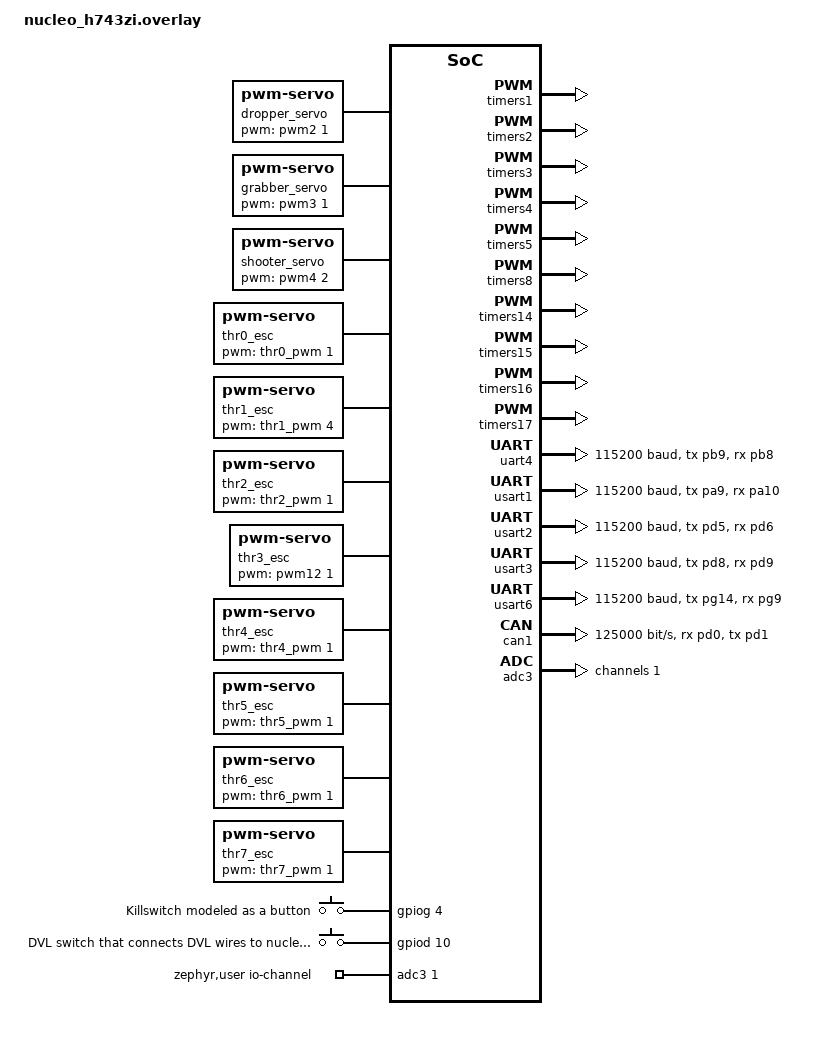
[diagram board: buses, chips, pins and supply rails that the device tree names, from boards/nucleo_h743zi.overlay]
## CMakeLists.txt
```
cmake_minimum_required(VERSION 3.20.5)
find_package(Zephyr REQUIRED HINTS $ENV{ZEPHYR_BASE})
project(maritime)

target_include_directories(app PRIVATE include)

FILE(GLOB app_sources src/*.c)

target_sources(app PRIVATE ${app_sources})
```

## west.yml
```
manifest:
  remotes:
    - name: zephyrproject-rtos
      url-base: https://github.com/zephyrproject-rtos
  projects:
    - name: zephyr
      remote: zephyrproject-rtos
      revision: v4.5.0
      # Only the modules an RP2040 build uses, rather than every vendor's HAL
      import:
        name-allowlist:
          - cmsis_6
          - hal_rpi_pico
  self:
    path: maritime
```

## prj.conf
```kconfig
CONFIG_BOOT_BANNER=n

CONFIG_UART_INTERRUPT_DRIVEN=y

CONFIG_GPIO=y
CONFIG_PWM=y
CONFIG_ADC=y

# Resets the board (stopping the thruster PWM) if the main loop stalls
CONFIG_WATCHDOG=y
# A fault resets the board at once, instead of halting with the thrusters on their last
# pulse until the watchdog fires
CONFIG_RESET_ON_FATAL_ERROR=y

# Stack overflow faults and resets the board instead of corrupting memory
CONFIG_ARM_MPU=y
CONFIG_HW_STACK_PROTECTION=y

# Framing for the protocol to thalassic
CONFIG_COBS=y

CONFIG_SERIAL=y
CONFIG_CONSOLE=y
CONFIG_UART_CONSOLE=y

CONFIG_USB_DEVICE_STACK_NEXT=y
CONFIG_CDC_ACM_SERIAL_INITIALIZE_AT_BOOT=y
CONFIG_CDC_ACM_SERIAL_PID=0x0004
CONFIG_CDC_ACM_SERIAL_PRODUCT_STRING="Maritime"

# Console shares the USB link with the protocol to thalassic. debug.conf turns logging on for debugging.
CONFIG_LOG=n

# Enable FLTO
CONFIG_LTO=y
CONFIG_ISR_TABLES_LOCAL_DECLARATION=y
```

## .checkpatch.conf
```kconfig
# Taken from https://github.com/zephyrproject-rtos/zephyr/blob/main/.checkpatch.conf
# --typedefsfile is left out: its path is relative to zephyr, so format.sh passes it

--emacs
--summary-file
--show-types
--max-line-length=100
--min-conf-desc-length=1

--ignore PRINTK_WITHOUT_KERN_LEVEL
--ignore SPLIT_STRING
--ignore VOLATILE
--ignore CONFIG_EXPERIMENTAL
--ignore PREFER_KERNEL_TYPES
--ignore PREFER_SECTION
--ignore AVOID_EXTERNS
--ignore NETWORKING_BLOCK_COMMENT_STYLE
--ignore DATE_TIME
--ignore MINMAX
--ignore CONST_STRUCT
--ignore FILE_PATH_CHANGES
--ignore SPDX_LICENSE_TAG
--ignore C99_COMMENT_TOLERANCE
--ignore REPEATED_WORD
--ignore UNDOCUMENTED_DT_STRING
--ignore DT_SPLIT_BINDING_PATCH
--ignore DT_SCHEMA_BINDING_PATCH
--ignore TRAILING_SEMICOLON
--ignore COMPLEX_MACRO
--ignore MULTISTATEMENT_MACRO_USE_DO_WHILE
--ignore ENOSYS
--ignore IS_ENABLED_CONFIG
--ignore EXPORT_SYMBOL
--ignore COMPARISON_TO_NULL
```

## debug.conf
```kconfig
# Logs go to the same USB console as the protocol. Only use for debugging.
CONFIG_LOG=y
# needed so there is not a huge delay with printk
CONFIG_LOG_PRINTK=n
CONFIG_LOG_DEFAULT_LEVEL=3
CONFIG_LOG_MAX_LEVEL=4
# USB is the output of logs, so turning on logs of USB would be recursive
CONFIG_USBD_CDC_ACM_LOG_LEVEL_OFF=y

# Checks the __ASSERT()s, which other builds compile out
CONFIG_ASSERT=y

# Disable FLTO
CONFIG_LTO=n
CONFIG_ISR_TABLES_LOCAL_DECLARATION=n
```

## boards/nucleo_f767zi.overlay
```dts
/ {
    /* Grabber and shooter servos are ser-110x model */
    dropper_servo: dropper_servo {
        compatible = "pwm-servo";
        pwms = <&pwm1_custom 1 PWM_MSEC(20) PWM_POLARITY_NORMAL>;
        min-pulse = <PWM_USEC(850)>;
        max-pulse = <PWM_USEC(2220)>; /* This sus value works */
    };

    /* The grabber servo is the ser-120x model */
    grabber_servo: grabber_servo {
        compatible = "pwm-servo";
        pwms = <&pwm2 2 PWM_MSEC(20) PWM_POLARITY_NORMAL>;
        min-pulse = <PWM_USEC(800)>;
        max-pulse = <PWM_USEC(2100)>;
    };

    shooter_servo: shooter_servo {
        compatible = "pwm-servo";
        pwms = <&pwm3 3 PWM_MSEC(20) PWM_POLARITY_NORMAL>;
        min-pulse = <PWM_USEC(850)>;
        max-pulse = <PWM_USEC(2220)>;
    };
};

/* Define timers for the pwm; pwm1 is already defined on pin pe13 by default
 * in zephyr's Nucleo f767zi dts file on their github.
 */
&timers2{
    pwm1_custom: pwm {
        status = "okay";
        pinctrl-0 = <&tim2_ch1_pa0>;
        pinctrl-names = "default";
    };

    pwm2: pwm {
        status = "okay";
        pinctrl-0 = <&tim2_ch2_pa1>;
        pinctrl-names = "default";
    };

    pwm3: pwm {
        status = "okay";
        pinctrl-0 = <&tim2_ch3_pa2>;
        pinctrl-names = "default";
    };
};

/* 
 * Communicate with the killswitch as a gpio "button" on pin PH1 
 * Communicate with the DVL switch (that connects DVL's wires to 
 *   nucleos uart pins) on pin PA14
 */
/ {
    buttons {
        compatible = "gpio-keys";
        killswitch_button: killswitch_button {
            /* Pin PH1 -> gpioh 1 */
            gpios = <&gpioh 1 GPIO_ACTIVE_HIGH>;
            label = "Killswitch modeled as a button";
        };

        dvl_switch: dvl_switch {
            /* Pin PA14 -> gpioa 14 */
            gpios = <&gpioa 14 GPIO_ACTIVE_HIGH>;
            label = "DVL switch that connects DVL wires to nucleos pins.";
        };
    };
};

&uart5 {
    pinctrl-0 = <&uart5_tx_pb9 &uart5_rx_pb8>;
    pinctrl-names = "default";
    current-speed = <115200>;
    status = "okay";
};

&usart1 {
    pinctrl-0 = <&usart1_tx_pa9 &usart1_rx_pa10>;
    pinctrl-names = "default";
    current-speed = <115200>;
    status = "okay";
};

&usart2 {
    pinctrl-0 = <&usart2_tx_pd5 &usart2_rx_pd6>;
    pinctrl-names = "default";
    current-speed = <115200>;
    status = "okay";
};

&uart4 {
    pinctrl-0 = <&uart4_tx_pc10 &uart4_rx_pc11>;
    pinctrl-names = "default";
    current-speed = <115200>;
    status = "okay";
};

&i2c1 {
    status = "disabled";
};

&i2c2 {
    pinctrl-0 = <&i2c2_scl_pb10 &i2c2_sda_pb11>;
    pinctrl-names = "default";
    status = "okay";
    clock-frequency = <I2C_BITRATE_STANDARD>;
    ms5837@76 {
        compatible = "meas,ms5837";
        reg = <0x76>;
    };
};


/*
can1 already enabled, alias zephyr,canbus = &can1;

&can1 {
	pinctrl-0 = <&can1_rx_pd0 &can1_tx_pd1>;
	pinctrl-names = "default";
	bus-speed = <125000>;
	status = "okay";
};
*/
```

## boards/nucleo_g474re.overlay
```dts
/ {
	aliases {
		uart3 = &usart3;

		max485-thruster = &max485_0;
	};
};

/* usart1 connected to MAX485 chip, used for thruster communication over RS-485 */
&usart1 {
	pinctrl-0 = <&usart1_tx_pc4 &usart1_rx_pc5>;
	current-speed = <115200>;
	status = "okay";

	dmas = <&dmamux1 2 25 0x440 0>,
		   <&dmamux1 1 24 0x480 0>;
	dma-names = "tx", "rx";

	max485_0: max485_0 {
		status = "okay";
		label = "MAX485_0";
		compatible = "maxim,max485";
		de-gpios = <&gpioc 6 GPIO_ACTIVE_HIGH>;
		re-gpios = <&gpioc 5 GPIO_ACTIVE_LOW>;
	};
};

&dma1 {
	status = "okay";
};

&dmamux1 {
	status = "okay";
};
```

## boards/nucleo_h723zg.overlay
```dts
/* Ask chatgpt if u don't understand something */

/ {
    /* Grabber and shooter servos are ser-110x model */
    dropper_servo: dropper_servo {
        compatible = "pwm-servo";
        pwms = <&pwm2 1 PWM_MSEC(20) PWM_POLARITY_NORMAL>;
        min-pulse = <PWM_USEC(850)>;
        max-pulse = <PWM_USEC(2100)>; /* This sus value works */
    };

    /* The grabber servo is the ser-120x model */
    grabber_servo: grabber_servo {
        compatible = "pwm-servo";
        pwms = <&pwm3 1 PWM_MSEC(20) PWM_POLARITY_NORMAL>;
        min-pulse = <PWM_USEC(800)>;
        max-pulse = <PWM_USEC(2100)>;
    };

    shooter_servo: shooter_servo {
        compatible = "pwm-servo";
        pwms = <&pwm4 2 PWM_MSEC(20) PWM_POLARITY_NORMAL>;
        min-pulse = <PWM_USEC(850)>;
        max-pulse = <PWM_USEC(2250)>;
    };
};

/* Define timers for the pwm; pwm12 is already defined on pin pb14 by default
 * in zephyr's Nucleo f767zi dts file on their github.
 */
&timers2{
    st,prescaler = <10000>;
    status = "okay";

    pwm2: pwm {
        status = "okay";
        pinctrl-0 = <&tim2_ch1_pa5>;
        pinctrl-names = "default";
    };
};

&timers3{
    st,prescaler = <10000>;
    status = "okay";

    pwm3: pwm {
        status = "okay";
        pinctrl-0 = <&tim3_ch1_pa6>;
        pinctrl-names = "default";
    };
};

&timers4{
    st,prescaler = <10000>;
    status = "okay";

    pwm4: pwm {
        status = "okay";
        pinctrl-0 = <&tim4_ch2_pb7>;
        pinctrl-names = "default";
    };
};

/* 
 * Communicate with the killswitch as a gpio "button" on pin PH1 
 * Communicate with the DVL switch (that connects DVL's wires to 
 *   nucleos uart pins) on pin PA14
 */
/ {
    buttons {
        compatible = "gpio-keys";
        killswitch_button: killswitch_button {
            /* Pin PG4 -> gpiog 4 */
            gpios = <&gpiog 4 GPIO_ACTIVE_HIGH>;
            label = "Killswitch modeled as a button";
        };

        dvl_switch: dvl_switch {
            /* Pin PD10 -> gpiod 10 */
            gpios = <&gpiod 10 GPIO_ACTIVE_HIGH>;
            label = "DVL switch that connects DVL wires to nucleos pins.";
        };
    };
};

&uart4 {
    pinctrl-0 = <&uart4_tx_pb9 &uart4_rx_pb8>;
    pinctrl-names = "default";
    current-speed = <115200>;
    status = "okay";
};

&usart1 {
    pinctrl-0 = <&usart1_tx_pa9 &usart1_rx_pa10>;
    pinctrl-names = "default";
    current-speed = <115200>;
    status = "okay";
};

&usart2 {
    pinctrl-0 = <&usart2_tx_pd5 &usart2_rx_pd6>;
    pinctrl-names = "default";
    current-speed = <115200>;
    status = "okay";
};

&usart3 {
    pinctrl-0 = <&usart3_tx_pd8 &usart3_rx_pd9>;
    pinctrl-names = "default";
    current-speed = <115200>;
    status = "okay";
};

&usart6 {
    pinctrl-0 = <&usart6_tx_pg14 &usart6_rx_pg9>;
    pinctrl-names = "default";
    current-speed = <115200>;
    status = "okay";
};

&uart7 {
    pinctrl-0 = <&uart7_tx_pf7 &uart7_rx_pf6>;
    pinctrl-names = "default";
    current-speed = <115200>;
    status = "okay";
};


/*
&i2c4 {
    pinctrl-0 = <&i2c4_scl_pd12 &i2c4_sda_pd13>;
    pinctrl-names = "default";
    status = "okay";
    clock-frequency = <I2C_BITRATE_STANDARD>;
    ms5837@76 {
        compatible = "meas,ms5837";
        reg = <0x76>;
    };
};
*/

/* can is used for sending messages to thrusters' escs */
&can1 {
    pinctrl-0 = <&fdcan1_rx_pd0 &fdcan1_tx_pd1>;
    pinctrl-names = "default";
    bus-speed = <125000>;
    bus-speed-data = <1000000>;
    status = "okay";
};

/*
 * Read the pressure sensor, via an analog to digital converter 
 * Use pin PC3, which has ADC3_INP3
 * https://github.com/micropython/micropython/blob/master/ports/stm32/boards/stm32h743_af.csv
 */
/ {
    zephyr,user {
        /* adjust channel number according to pinmux in board.dts */
        io-channels = <&adc3 3>;
    };
};

&adc3 {
    #address-cells = <1>;
    #size-cells = <0>;

    channel@3 {
        reg = <3>;
        zephyr,gain = "ADC_GAIN_1";
        zephyr,reference = "ADC_REF_INTERNAL";
        zephyr,acquisition-time = <ADC_ACQ_TIME_DEFAULT>;
        zephyr,resolution = <16>;
    };
};
```

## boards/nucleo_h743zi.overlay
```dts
/* Ask chatgpt if u don't understand something */

/ {
    /* Grabber and shooter servos are ser-110x model */
    dropper_servo: dropper_servo {
        compatible = "pwm-servo";
        /* Timer 2 channel 1 (pwm2/1) = pwm2 1 */
        pwms = <&pwm2 1 PWM_MSEC(20) PWM_POLARITY_NORMAL>;
        min-pulse = <PWM_USEC(850)>;
        max-pulse = <PWM_USEC(2100)>; /* This sus value works */
    };

    /* The grabber servo is the ser-120x model */
    grabber_servo: grabber_servo {
        compatible = "pwm-servo";
        pwms = <&pwm3 1 PWM_MSEC(20) PWM_POLARITY_NORMAL>;
        min-pulse = <PWM_USEC(800)>;
        max-pulse = <PWM_USEC(2100)>;
    };

    shooter_servo: shooter_servo {
        compatible = "pwm-servo";
        pwms = <&pwm4 2 PWM_MSEC(20) PWM_POLARITY_NORMAL>;
        min-pulse = <PWM_USEC(850)>;
        max-pulse = <PWM_USEC(2250)>;
    };

    /* Use pwm to control the thruster electronic speed controllers */
    thr0_esc: thr0_esc {
        compatible = "pwm-servo";
        pwms = <&thr0_pwm 1 PWM_MSEC(20) PWM_POLARITY_NORMAL>;
        min-pulse = <PWM_USEC(1100)>;
        max-pulse = <PWM_USEC(1900)>;
    };

    thr1_esc: thr1_esc {
        compatible = "pwm-servo";
        pwms = <&thr1_pwm 4 PWM_MSEC(20) PWM_POLARITY_NORMAL>;
        min-pulse = <PWM_USEC(1100)>;
        max-pulse = <PWM_USEC(1900)>;
    };

    thr2_esc: thr2_esc {
        compatible = "pwm-servo";
        pwms = <&thr2_pwm 1 PWM_MSEC(20) PWM_POLARITY_NORMAL>;
        min-pulse = <PWM_USEC(1100)>;
        max-pulse = <PWM_USEC(1900)>;
    };

    thr3_esc: thr3_esc {
        compatible = "pwm-servo";
        /* pwm12 is defined by default on pin pb14 */
        pwms = <&pwm12 1 PWM_MSEC(20) PWM_POLARITY_NORMAL>;
        min-pulse = <PWM_USEC(1100)>;
        max-pulse = <PWM_USEC(1900)>;
    };

    thr4_esc: thr4_esc {
        compatible = "pwm-servo";
        pwms = <&thr4_pwm 1 PWM_MSEC(20) PWM_POLARITY_NORMAL>;
        min-pulse = <PWM_USEC(1100)>;
        max-pulse = <PWM_USEC(1900)>;
    };

    thr5_esc: thr5_esc {
        compatible = "pwm-servo";
        pwms = <&thr5_pwm 1 PWM_MSEC(20) PWM_POLARITY_NORMAL>;
        min-pulse = <PWM_USEC(1100)>;
        max-pulse = <PWM_USEC(1900)>;
    };

    thr6_esc: thr6_esc {
        compatible = "pwm-servo";
        pwms = <&thr6_pwm 1 PWM_MSEC(20) PWM_POLARITY_NORMAL>;
        min-pulse = <PWM_USEC(1100)>;
        max-pulse = <PWM_USEC(1900)>;
    };

    thr7_esc: thr7_esc {
        compatible = "pwm-servo";
        pwms = <&thr7_pwm 1 PWM_MSEC(20) PWM_POLARITY_NORMAL>;
        min-pulse = <PWM_USEC(1100)>;
        max-pulse = <PWM_USEC(1900)>;
    };
};

/* Define timers for the pwm; pwm12 is already defined on pin pb14 by default
 * in zephyr's Nucleo f767zi dts file on their github.
 */
&timers1{
    st,prescaler = <10000>;
    status = "okay";

    thr0_pwm: pwm {
        status = "okay";
        pinctrl-0 = <&tim1_ch1_pa8>;
        pinctrl-names = "default";
    };
};

&timers2{
    st,prescaler = <10000>;
    status = "okay";

    pwm2: pwm {
        status = "okay";
        pinctrl-0 = <&tim2_ch1_pa5>;
        pinctrl-names = "default";
    };
};

&timers3{
    st,prescaler = <10000>;
    status = "okay";

    pwm3: pwm {
        status = "okay";
        pinctrl-0 = <&tim3_ch1_pa6>;
        pinctrl-names = "default";
    };
};

&timers4{
    st,prescaler = <10000>;
    status = "okay";

    pwm4: pwm {
        status = "okay";
        pinctrl-0 = <&tim4_ch2_pb7>;
        pinctrl-names = "default";
    };
};

&timers5{
    st,prescaler = <10000>;
    status = "okay";

    thr1_pwm: pwm {
        status = "okay";
        pinctrl-0 = <&tim5_ch4_pa3>;
        pinctrl-names = "default";
    };
};

&timers8{
    st,prescaler = <10000>;
    status = "okay";

    thr2_pwm: pwm {
        status = "okay";
        pinctrl-0 = <&tim8_ch1_pc6>;
        pinctrl-names = "default";
    };
};

&timers14{
    st,prescaler = <10000>;
    status = "okay";

    thr4_pwm: pwm {
        status = "okay";
        pinctrl-0 = <&tim14_ch1_pa7>;
        pinctrl-names = "default";
    };
};

&timers15{
    st,prescaler = <10000>;
    status = "okay";

    thr5_pwm: pwm {
        status = "okay";
        pinctrl-0 = <&tim15_ch1_pa2>;
        pinctrl-names = "default";
    };
};

&timers16{
    st,prescaler = <10000>;
    status = "okay";

    thr6_pwm: pwm {
        status = "okay";
        pinctrl-0 = <&tim16_ch1_pf6>;
        pinctrl-names = "default";
    };
};

&timers17{
    st,prescaler = <10000>;
    status = "okay";

    thr7_pwm: pwm {
        status = "okay";
        pinctrl-0 = <&tim17_ch1_pf7>;
        pinctrl-names = "default";
    };
};

/* 
 * Communicate with the killswitch as a gpio "button" on pin PH1 
 * Communicate with the DVL switch (that connects DVL's wires to 
 *   nucleos uart pins) on pin PA14
 */
/ {
    buttons {
        compatible = "gpio-keys";
        killswitch_button: killswitch_button {
            /* Pin PG4 -> gpiog 4 */
            gpios = <&gpiog 4 GPIO_ACTIVE_HIGH>;
            label = "Killswitch modeled as a button";
        };

        dvl_switch: dvl_switch {
            /* Pin PD10 -> gpiod 10 */
            gpios = <&gpiod 10 GPIO_ACTIVE_HIGH>;
            label = "DVL switch that connects DVL wires to nucleos pins.";
        };
    };
};

&uart4 {
    pinctrl-0 = <&uart4_tx_pb9 &uart4_rx_pb8>;
    pinctrl-names = "default";
    current-speed = <115200>;
    status = "okay";
};

&usart1 {
    pinctrl-0 = <&usart1_tx_pa9 &usart1_rx_pa10>;
    pinctrl-names = "default";
    current-speed = <115200>;
    status = "okay";
};

&usart2 {
    pinctrl-0 = <&usart2_tx_pd5 &usart2_rx_pd6>;
    pinctrl-names = "default";
    current-speed = <115200>;
    status = "okay";
};

&usart3 {
    pinctrl-0 = <&usart3_tx_pd8 &usart3_rx_pd9>;
    pinctrl-names = "default";
    current-speed = <115200>;
    status = "okay";
};

&usart6 {
    pinctrl-0 = <&usart6_tx_pg14 &usart6_rx_pg9>;
    pinctrl-names = "default";
    current-speed = <115200>;
    status = "okay";
};

/*
&uart7 {
    pinctrl-0 = <&uart7_tx_pf7 &uart7_rx_pf6>;
    pinctrl-names = "default";
    current-speed = <115200>;
    status = "okay";
};
*/


/*
&i2c4 {
    pinctrl-0 = <&i2c4_scl_pd12 &i2c4_sda_pd13>;
    pinctrl-names = "default";
    status = "okay";
    clock-frequency = <I2C_BITRATE_STANDARD>;
    ms5837@76 {
        compatible = "meas,ms5837";
        reg = <0x76>;
    };
};
*/

/* can is used for sending messages to thrusters' escs */
&can1 {
    pinctrl-0 = <&fdcan1_rx_pd0 &fdcan1_tx_pd1>;
    pinctrl-names = "default";
    bus-speed = <125000>;
    bus-speed-data = <1000000>;
    status = "okay";
};

/*
 * Read the pressure sensor, via an analog to digital converter 
 * Use pin PC3, which has ADC3_INP1 
 * https://github.com/micropython/micropython/blob/master/ports/stm32/boards/stm32h743_af.csv
 */
/ {
    zephyr,user {
        /* adjust channel number according to pinmux in board.dts */
        io-channels = <&adc3 1>;
    };
};

&adc3 {
    #address-cells = <1>;
    #size-cells = <0>;

    channel@1 {
        reg = <1>;
        zephyr,gain = "ADC_GAIN_1";
        zephyr,reference = "ADC_REF_INTERNAL";
        zephyr,acquisition-time = <ADC_ACQ_TIME_DEFAULT>;
        zephyr,resolution = <16>;
    };
};
```

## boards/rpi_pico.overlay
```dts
/ {
	zephyr,user {
		io-channels = <&adc 0>;
	};

	/* Dropper and shooter servos are ser-110x model */
	dropper_servo: dropper_servo {
		compatible = "avbotz,pwm-servo";
		pwms = <&pwm 5 PWM_MSEC(20) PWM_POLARITY_NORMAL>;
		min-pulse = <PWM_USEC(800)>;
		max-pulse = <PWM_USEC(1700)>;
	};

	shooter_servo: shooter_servo {
		compatible = "avbotz,pwm-servo";
		pwms = <&pwm 4 PWM_MSEC(20) PWM_POLARITY_NORMAL>;
		min-pulse = <PWM_USEC(800)>;
		mid-pulse = <PWM_USEC(1150)>;
		max-pulse = <PWM_USEC(1700)>;
	};

	/* The grabber servo is the ser-120x model. */
	/*
	 * grabber_servo: grabber_servo {
	 *	compatible = "avbotz,pwm-servo";
	 *	pwms = <&pwm 3 PWM_MSEC(20) PWM_POLARITY_NORMAL>;
	 *	min-pulse = <PWM_USEC(800)>;
	 *	max-pulse = <PWM_USEC(2100)>;
	 * };
	 */

	killswitch: killswitch {
		compatible = "avbotz,killswitch";

		gpios = <&gpio0 28 (GPIO_ACTIVE_HIGH | GPIO_PULL_UP)>;
		kill-debounce-ms = <10>;
		release-debounce-ms = <50>;
	};

	thrusters {
		compatible = "avbotz,pwm-thrusters";

		min-pulse = <PWM_USEC(1100)>;
		max-pulse = <PWM_USEC(1900)>;

		max-power = <60>;

		thruster0: thruster0 {
			pwms = <&pwm 9 PWM_MSEC(20) PWM_POLARITY_NORMAL>;
		};

		thruster1: thruster1 {
			pwms = <&pwm 8 PWM_MSEC(20) PWM_POLARITY_NORMAL>;
		};

		thruster2: thruster2 {
			pwms = <&pwm 3 PWM_MSEC(20) PWM_POLARITY_NORMAL>;
		};

		thruster3: thruster3 {
			pwms = <&pwm 2 PWM_MSEC(20) PWM_POLARITY_NORMAL>;
		};

		thruster4: thruster4 {
			pwms = <&pwm 1 PWM_MSEC(20) PWM_POLARITY_NORMAL>;
		};

		thruster5: thruster5 {
			pwms = <&pwm 6 PWM_MSEC(20) PWM_POLARITY_NORMAL>;
		};

		thruster6: thruster6 {
			pwms = <&pwm 7 PWM_MSEC(20) PWM_POLARITY_NORMAL>;
		};

		thruster7: thruster7 {
			pwms = <&pwm 0 PWM_MSEC(20) PWM_POLARITY_NORMAL>;
		};
	};

	chosen {
		zephyr,console = &cdc_acm_uart0;
	};
};

&zephyr_udc0 {
	cdc_acm_uart0: cdc_acm_uart0 {
		compatible = "zephyr,cdc-acm-uart";
	};
};

/* Uses P0 and P1 by default, which clashes with thrusters 4 and 7. */
&uart0 {
	status = "disabled";
};

&pwm {
	status = "okay";

	pinctrl-0 = <&pwm_default>;
};

&adc {
	status = "okay";
	pinctrl-0 = <&adc_default>;
	pinctrl-names = "default";
	#address-cells = <1>;
	#size-cells = <0>;

	pressure: channel@0 {
		reg = <0>;
		zephyr,gain = "ADC_GAIN_1";
		zephyr,reference = "ADC_REF_INTERNAL";
		zephyr,acquisition-time = <ADC_ACQ_TIME_DEFAULT>;
		zephyr,resolution = <12>;
	};
};

&pinctrl {
	pwm_default: pwm_default {
		group1 {
			pinmux = <PWM_0A_P0 PWM_0B_P1
				  PWM_1A_P2 PWM_1B_P3
				  PWM_3A_P6 PWM_3B_P7
				  PWM_4A_P8 PWM_4B_P9
				  PWM_2A_P20 PWM_2B_P21>;
		};
	};

	/* The board's state also takes P27-P29 for the ADC and P28 is the kill switch, so restrict ADC to P26 only. */
	adc_default: adc_default {
		group1 {
			pinmux = <ADC_CH0_P26>;
		};
	};
};
```

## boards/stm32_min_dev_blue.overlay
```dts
/ {
    aliases {
        imu = &mpu6050;
        mag = &ak8975;
    };
};

&i2c1 {
	status = "okay";
	clock-frequency = <I2C_BITRATE_FAST>;

	mpu6050: mpu6050@68 {
		compatible = "invensense,mpu6050";
		reg = <0x68>;
		status = "okay";
		label = "MPU6050";
		int-gpios = <&gpioa 4 GPIO_ACTIVE_HIGH>;
	};

	ak8975: ak8975@48 {
		compatible = "asahi-kasei,ak8975";
		reg = <0x48>;
		status = "okay";
		label = "AK8975";
	};
};
```

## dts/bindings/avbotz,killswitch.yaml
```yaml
description: Asymmetrically debounced switch.

compatible: "avbotz,killswitch"

include: base.yaml

properties:
  gpios:
    type: phandle-array
    min-len: 1
    max-len: 1
    required: true
    description: GPIO pin connected to the switch.

  kill-debounce-ms:
    type: int
    default: 0
    description: Time the switch must read killed (GPIO active) before it counts (milliseconds).

  release-debounce-ms:
    type: int
    default: 0
    description: Time the switch must read released (GPIO inactive) before it counts (milliseconds).
```

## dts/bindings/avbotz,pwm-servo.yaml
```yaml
# SPDX-License-Identifier: Apache-2.0

description: PWM-driven servo motor.

compatible: "avbotz,pwm-servo"

include: base.yaml

properties:
  pwms:
    required: true
    type: phandle-array
    description: PWM specifier driving the servo motor.

  min-pulse:
    required: true
    type: int
    description: Minimum pulse width (nanoseconds).

  mid-pulse:
    required: false
    type: int
    description: Middle pulse width (nanoseconds).

  max-pulse:
    required: true
    type: int
    description: Maximum pulse width (nanoseconds).
```

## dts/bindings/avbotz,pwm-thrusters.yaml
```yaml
description: PWM-driven ESC thrusters with one child node per thruster.

compatible: "avbotz,pwm-thrusters"

include: base.yaml

properties:
  min-pulse:
    required: true
    type: int
    description: Minimum pulse width (nanoseconds).

  max-pulse:
    required: true
    type: int
    description: Maximum pulse width (nanoseconds).

  max-power:
    required: true
    type: int
    min: 0
    max: 100
    description: Percent max power (0-100) that can be provided to the thrusters.

child-binding:
  description: One thruster's ESC PWM signal line.

  properties:
    pwms:
      required: true
      type: phandle-array
      description: PWM specifier driving the thruster's ESC.
```

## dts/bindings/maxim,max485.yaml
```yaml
description: Maxim Integrated MAX485 RS-485 converter

compatible: "maxim,max485"

include: [base.yaml, uart-device.yaml]

properties:
  label:
    required: true
    type: string
    description: Human readable string describing the device

  re-gpios:
    type: phandle-array
    required: true
    description: Receiver enable GPIO pin

  de-gpios:
    type: phandle-array
    required: true
    description: Driver enable GPIO pin
```

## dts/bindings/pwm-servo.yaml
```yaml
# Copyright (c) 2022 Nordic Semiconductor ASA
# SPDX-License-Identifier: Apache-2.0

description: PWM-driven servo motor.

compatible: "pwm-servo"

include: base.yaml

properties:
  pwms:
    required: true
    type: phandle-array
    description: PWM specifier driving the servo motor.

  min-pulse:
    required: true
    type: int
    description: Minimum pulse width (nanoseconds).

  mid-pulse:
    required: false
    type: int
    description: Middle pulse width (nanoseconds).

  max-pulse:
    required: true
    type: int
    description: Maximum pulse width (nanoseconds).
```

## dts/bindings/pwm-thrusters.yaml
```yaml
description: PWM-driven ESC thrusters with one child node per thruster.

compatible: "pwm-thrusters"

include: base.yaml

child-binding:
  description: One thruster's ESC signal line.

  properties:
    pwms:
      required: true
      type: phandle-array
      description: PWM specifier driving the thruster's ESC.
```

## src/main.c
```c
#include "arming.h"
#include "killswitch.h"
#include "pressure.h"
#include "protocol.h"
#include "servo.h"
#include "thruster.h"
#include "watchdog.h"

#include <zephyr/kernel.h>
#include <zephyr/logging/log.h>

#include <stdbool.h>

#ifdef CONFIG_SOC_FAMILY_RPI_PICO
#include <pico/bootrom.h>
#endif

LOG_MODULE_REGISTER(main, LOG_LEVEL_DBG);

BUILD_ASSERT(PROTOCOL_NUM_THRUSTERS == NUM_THRUSTERS,
	     "Number of thrusters in protocol and overlay must match");

/* Time between state frames to the host [ms] */
static const int64_t STATE_PERIOD_MS = 100;

static const struct device *usb_device = DEVICE_DT_GET(DT_NODELABEL(cdc_acm_uart0));

static void handle_msg(const struct host_msg *msg, int64_t now)
{
	switch (msg->type) {
	case MSG_THRUSTERS:
		arming_command(msg->thrusts, now);
		break;
	case MSG_TORPEDO:
		if (msg->actuator.id > 1 || msg->actuator.open > 1) {
			break;
		}

		servo_shoot(msg->actuator.id, msg->actuator.open);
		break;
	case MSG_DROPPER:
		if (msg->actuator.id > 1 || msg->actuator.open > 1) {
			break;
		}

		servo_drop(msg->actuator.id, msg->actuator.open);
		break;
#if HAVE_GRABBER
	case MSG_GRABBER:
		servo_grab(msg->grabber_closed);
		break;
#endif
	case MSG_SERVO:
		/* Clamped to the servo's range from the overlay */
		switch (msg->servo.id) {
		case SERVO_ID_DROPPER:
			servo_set_pulse(SERVO_DROPPER, msg->servo.pulse_us);
			break;
#if HAVE_GRABBER
		case SERVO_ID_GRABBER:
			servo_set_pulse(SERVO_GRABBER, msg->servo.pulse_us);
			break;
#endif
		case SERVO_ID_SHOOTER:
			servo_set_pulse(SERVO_SHOOTER, msg->servo.pulse_us);
			break;
		}
		break;
#ifdef CONFIG_SOC_FAMILY_RPI_PICO
	case MSG_BOOTLOADER:
		if (msg->bootloader_magic == BOOTLOADER_MAGIC) {
			thruster_stop();
			reset_usb_boot(0, 0);
		}
		break;
#endif
	}
}

static void send_state(int64_t now)
{
	struct board_state state = {
		/* Reported released only once thrust commands are obeyed */
		.killed = !arming_is_armed(),
		.uptime_ms = (uint32_t)now,
		.command_timeouts = arming_command_timeouts(),
	};

	/* Left 0 and flagged invalid, rather than made up, if the sensor cannot be read */
	state.depth_valid = pressure_get_depth_m(&state.depth_m) == 0;
	protocol_send_state(&state);
}

int main(void)
{
	if (!device_is_ready(usb_device)) {
		LOG_ERR("CDC ACM device not ready");
		return -1;
	}

	protocol_init(usb_device);
	/* Keeps running, so the host still gets state frames: they say killed */
	if (killswitch_init() < 0) {
		LOG_ERR("No kill switch");
	}
	if (thruster_init() < 0) {
		LOG_ERR("No thrusters");
	}
	if (servo_init() < 0) {
		LOG_ERR("No servos");
	}
	if (pressure_init() < 0) {
		LOG_ERR("No pressure sensor");
	}
	if (watchdog_init() < 0) {
		LOG_ERR("No watchdog");
	}

	/* Neutral until the kill switch is released and the ESCs have initialized */
	arming_init();

	struct host_msg msg;
	int64_t next_state = k_uptime_get();

	while (true) {
		const int64_t now = k_uptime_get();

		watchdog_feed();

		arming_update(killswitch_update(now) == KILLSWITCH_RELEASED, now);

		while (protocol_receive(&msg) == 0) {
			handle_msg(&msg, now);
		}

		if (now >= next_state) {
			next_state = now + STATE_PERIOD_MS;
			send_state(now);
		}

		/*
		 * Yield so lower-priority threads (log thread) get CPU time. Without this, the busy
		 * loop starves them.
		 */
		k_sleep(K_MSEC(1));
	}

	return 0;
}
```

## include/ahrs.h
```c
#ifndef _MARITIME_AHRS_H
#define _MARITIME_AHRS_H

#include <zephyr/kernel.h>

/*
 * AHRS sample published to ahrs_data_msgq every 20 msec: NED Euler angles in
 * radians (from the WT901's onboard fusion) and their finite-difference
 * angular velocities in rad/s.
 */
struct ahrs_data_s {
	float yaw;
	float pitch;
	float roll;
	float ang_vel_yaw;
	float ang_vel_pitch;
	float ang_vel_roll;
};

extern struct k_msgq ahrs_data_msgq;

int setup_ahrs(void);

#endif /* _MARITIME_AHRS_H */
```

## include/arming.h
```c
#ifndef MARITIME_ARMING_H_
#define MARITIME_ARMING_H_

#include "thruster.h"

#include <stdbool.h>
#include <stdint.h>

/* Starts killed, with the thrusters neutral. After thruster_init(). */
void arming_init(void);
/* Update state based on kill switch position and the command timeout */
void arming_update(bool released, int64_t now);
/* A thrust command from the host. Sent to the thrusters only when armed */
void arming_command(const float thrusts[NUM_THRUSTERS], int64_t now);
/* Thrust commands are obeyed */
bool arming_is_armed(void);
/* Times the command timeout stopped the thrusters */
uint32_t arming_command_timeouts(void);

#endif /* MARITIME_ARMING_H_ */
```

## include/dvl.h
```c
#ifndef _MARITIME_DVL_H
#define _MARITIME_DVL_H

#include <zephyr/kernel.h>

struct dvl_data_s {
    float velocity_x;
    float velocity_y;
    float velocity_z;
    float altitude;
    float time_since_last_ms;
    bool health;
};

void setup_dvl(void);

void start_dvl_uart();

void stop_dvl_uart();

extern struct k_msgq dvl_data_msgq;

#endif
```

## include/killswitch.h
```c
#ifndef MARITIME_KILLSWITCH_H_
#define MARITIME_KILLSWITCH_H_

#include <stdint.h>

enum killswitch_state {
	/*
	 * Killswitch in unkilled position, but hasn't been killed since startup. Require a cycle to
	 * be considered released.
	 */
	KILLSWITCH_NEEDS_CYCLE,
	KILLSWITCH_KILLED,
	KILLSWITCH_RELEASED,
};

int killswitch_init(void);
/* Should be called around every ms from a single thread. */
enum killswitch_state killswitch_update(int64_t now);

#endif /* MARITIME_KILLSWITCH_H_ */
```

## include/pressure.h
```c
#ifndef MARITIME_PRESSURE_H_
#define MARITIME_PRESSURE_H_

int pressure_init(void);
/* Takes the current reading as the surface (depth 0) */
int pressure_reset_reference(void);
/* Depth below the surface reading [m, positive down]; -EIO if the sensor cannot be read */
int pressure_get_depth_m(float *depth_m);

#endif /* MARITIME_PRESSURE_H_ */
```

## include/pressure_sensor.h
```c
#include <zephyr.h>
#include <device.h>

#ifndef PRESSURE_H
#define PRESSURE_H

#define PRESSURE_SENSOR_NODE DT_ALIAS(pressure_sensor)

struct pressure_sensor_sample {
	int64_t timestamp;
	double pressureKPA;
};

void init_pressure_sensor(struct k_msgq *pressure_sensor_msgq, struct k_msgq *attitude_msgq);
int process_pressure_sensor(const struct device *dev, struct pressure_sensor_sample *pressure_sensor_sample);

#endif /* PRESSURE_H */
```

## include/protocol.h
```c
#ifndef MARITIME_PROTOCOL_H_
#define MARITIME_PROTOCOL_H_

/*
 * Full description of protocol can be found at https://sw.avbotz.com/maritime/protocol.
 * Each frame sent is:
 *
 *   0x00, COBS(type, payload), 0x00
 *
 * Multi-byte fields are little-endian. USB CDC-ACM already uses CRC, so an additional error
 * checking mechanism is not needed at this level.
 */

#include <zephyr/device.h>

#include <stdbool.h>
#include <stdint.h>

#define PROTOCOL_VERSION 3

/* Host to board */
#define MSG_THRUSTERS  0x01 /* f32 thrust[8], each between -1 to 1 */
#define MSG_TORPEDO    0x02 /* u8 id (0, 1), u8 open (0, 1) */
#define MSG_DROPPER    0x03 /* u8 id (0, 1), u8 open (0, 1) */
#define MSG_GRABBER    0x04 /* f32 closed, from 0 (open) to 1 (closed) */
#define MSG_SERVO      0x05 /* u8 servo (SERVO_ID_*), u16 pulse_us */
#define MSG_BOOTLOADER 0x06 /* u32 BOOTLOADER_MAGIC */

/* Board to host */
/* u8 protocol, u8 flags, f32 depth_m, u32 uptime_ms, u32 command_timeouts, u32 rx_errors */
#define MSG_STATE 0x81

#define PROTOCOL_NUM_THRUSTERS 8

/* MSG_SERVO's servo */
#define SERVO_ID_DROPPER 0
#define SERVO_ID_GRABBER 1
#define SERVO_ID_SHOOTER 2

/* "BOOT": rebooting into the bootloader stops the sub, so it takes more than one byte */
#define BOOTLOADER_MAGIC 0x544f4f42

struct host_msg {
	uint8_t type;
	union {
		/* MSG_THRUSTERS */
		float thrusts[PROTOCOL_NUM_THRUSTERS];
		/* MSG_TORPEDO, MSG_DROPPER */
		struct {
			uint8_t id;
			uint8_t open;
		} actuator;
		/* MSG_SERVO */
		struct {
			uint8_t id;
			uint16_t pulse_us;
		} servo;
		/* MSG_BOOTLOADER */
		uint32_t bootloader_magic;
		/* MSG_GRABBER */
		float grabber_closed;
	};
};

/* MSG_STATE payload */
struct board_state {
	bool killed;
	bool depth_valid;
	float depth_m;
	uint32_t uptime_ms;
	uint32_t command_timeouts;
};

/* Starts receiving and sending frames using `dev` */
void protocol_init(const struct device *dev);
/*
 * Returns 0 and modified msg if message from host has arrived or -EAGAIN if none have newly arrived
 */
int protocol_receive(struct host_msg *msg);
/* Send MSG_STATE */
void protocol_send_state(const struct board_state *state);

#endif /* MARITIME_PROTOCOL_H_ */
```

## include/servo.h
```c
#ifndef MARITIME_SERVO_H_
#define MARITIME_SERVO_H_

#include <zephyr/devicetree.h>

#define HAVE_GRABBER DT_NODE_EXISTS(DT_NODELABEL(grabber_servo))

enum servo_type {
	SERVO_DROPPER,
	SERVO_SHOOTER,
#if HAVE_GRABBER
	SERVO_GRABBER,
#endif
};

int servo_init(void);
int servo_set_pulse(enum servo_type type, int pulse_us);
void servo_drop(int idx, int value);
void servo_shoot(int idx, int value);
#if HAVE_GRABBER
void servo_grab(float closed);
#endif

#endif /* MARITIME_SERVO_H_ */
```

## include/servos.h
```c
#ifndef SERVOS_H
#define SERVOS_H

void init_servos();
void drop(int idx, int value);
void grab(int value);
void shoot(int idx, int value);

#endif /* SERVO_H */
```

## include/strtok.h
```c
#ifndef STRTOK_H
#define STRTOK_H

char *
strtok_r (register char *__restrict s,
	register const char *__restrict delim,
	char **__restrict lasts);

#endif
```

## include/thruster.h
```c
#ifndef MARITIME_THRUSTER_H_
#define MARITIME_THRUSTER_H_

#define NUM_THRUSTERS 8

int thruster_init(void);
void thruster_send(int thruster, float thrust);
void thruster_send_all(const float thrusts[NUM_THRUSTERS]);
void thruster_send_all_uniform(float thrust);
void thruster_stop(void);

#endif /* MARITIME_THRUSTER_H_ */
```

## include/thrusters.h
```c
#ifndef THRUSTERS_H
#define THRUSTERS_H

void init_thrusters();
void send_thrusts(float *thrusts);

static const int NUM_THRUSTERS = 8;

#endif /* THRUSTERS_H */
```
